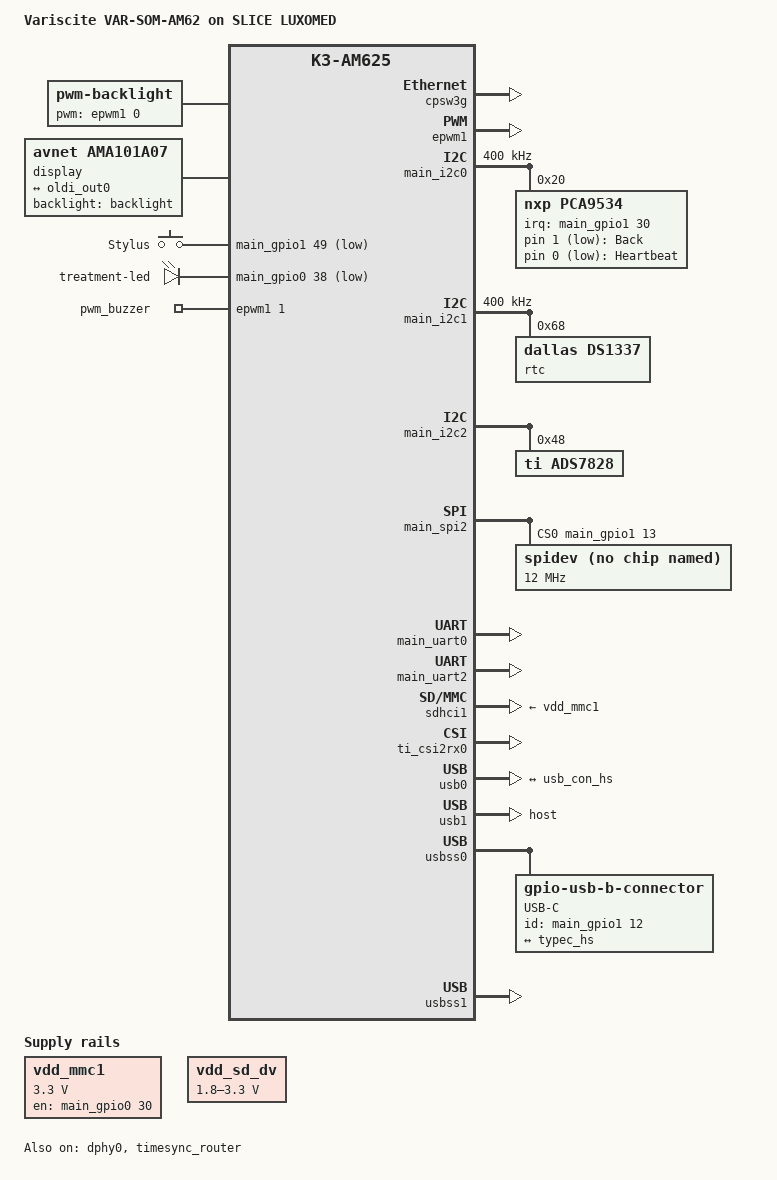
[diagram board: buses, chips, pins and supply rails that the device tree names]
// SPDX-License-Identifier: GPL-2.0
/*
 * VAR-SOM-AM62
 *
 * Copyright (C) 2021-2022 Texas Instruments Incorporated - https://www.ti.com/
 * Copyright (C) 2024 Variscite Ltd. - https://www.variscite.com/
 */

 // FROM SysConig Software use AM62x ALW

/dts-v1/;

#include "k3-am625-var-som.dtsi"

/ {
	model = "Variscite VAR-SOM-AM62 on SLICE LUXOMED";

	aliases {
		ethernet0 = &cpsw_port1;
		ethernet1 = &cpsw_port2;
		mmc0 = &sdhci0;
		mmc1 = &sdhci1;
		mmc2 = &sdhci2;
		serial0 = &main_uart0;
		serial2 = &main_uart2;
		serial5 = &main_uart5;
		serial6 = &main_uart6;
		spi5 = &main_spi2;
		usb0 = &usb0;
		usb1 = &usb1;
	};

	backlight: backlight {
		compatible = "pwm-backlight";
		pinctrl-names = "default";
		pinctrl-0 = <&main_epwm1_pins_default>;
		pwms = <&epwm1 0 1000000 PWM_POLARITY_NORMAL>; //0 channel A
		status = "okay";
		brightness-levels = < 0  1  2  3  4  5  6  7  8  9
				      10 11 12 13 14 15 16 17 18 19
				      20 21 22 23 24 25 26 27 28 29
				      30 31 32 33 34 35 36 37 38 39
				      40 41 42 43 44 45 46 47 48 49
				      50 51 52 53 54 55 56 57 58 59
				      60 61 62 63 64 65 66 67 68 69
				      70 71 72 73 74 75 76 77 78 79
				      80 81 82 83 84 85 86 87 88 89
				      90 91 92 93 94 95 96 97 98 99
				      100>;
		default-brightness-level = <100>;
	};

	chosen {
		stdout-path = "serial0:115200n8";
		bootargs = "console=ttyS0,115200n8 earlycon=ns16550a,mmio32,0x02800000";
	};

	display {
		compatible = "avnet,ama101a07";
		backlight = <&backlight>;
		status = "okay";

		port@0 {
			lcd_in0: endpoint {
				remote-endpoint = <&oldi_out0>;
			};
		};
	};

	// display1 {
	// 	compatible = "avnet,ama101a07";
	// 	status = "okay";
	// 	port@1 {
	// 			lcd_in1: endpoint {
	// 				remote-endpoint = <&oldi_out1>;
	// 		};
	// 	};
	// };

	gpio-keys {
		compatible = "gpio-keys";
		status = "okay";
		back {
			label = "Back";
			linux,code = <96>;//enter
			gpios = <&pca9534 1 GPIO_ACTIVE_LOW>;
			wakeup-source;
			
		};

		stylus {
			label = "Stylus";
			linux,code = <103>;//cursor up
			gpios = <&main_gpio1 49 GPIO_ACTIVE_LOW>;
			wakeup-source;
			debounce-interval = <10>;  // Optional debounce (in ms)
		};
	};

	gpio-leds {
		compatible = "gpio-leds";
		status = "okay";

		heartbeat {
			label = "Heartbeat";
			linux,default-trigger = "heartbeat";
			gpios = <&pca9534 0 GPIO_ACTIVE_LOW>;
		};

		treatment_led {
            label = "treatment-led";                 // Label for the LED
            gpios = <&main_gpio0 38 GPIO_ACTIVE_LOW>;// GPIO0 pin 38 (active low PNP)
            default-state = "off";                   // Initial state
        };
	};

	epwm_buzzer {
		compatible = "pwm-leds";
		pinctrl-names = "default";
		pinctrl-0 = <&buzzer_pwm_c>;

		buzzer {
			label = "pwm_buzzer";
			pwms = <&epwm1 1 1000000 PWM_POLARITY_NORMAL>; //0 channel B
			max-brightness = <255>;   /* Maximum brightness */
			default-brightness = <128>; /* Default brightness */
		};
	};

	vdd_mmc1: regulator-3 {
		compatible = "regulator-fixed";
		regulator-name = "SD_power_en";
		pinctrl-names = "default";
		pinctrl-0 = <&vdd_mmc1_pins_default>;
		regulator-min-microvolt = <3300000>;
		regulator-max-microvolt = <3300000>;
		regulator-boot-on;
		enable-active-high;
		gpio = <&main_gpio0 30 GPIO_ACTIVE_HIGH>;
		status="okay";
	};

	vdd_sd_dv: regulator-4 {
		compatible = "regulator-gpio";
		regulator-name = "SD_voltage_sel";
		pinctrl-names = "default";
		pinctrl-0 = <&vdd_sd_dv_pins_default>;
		regulator-min-microvolt = <1800000>;
		regulator-max-microvolt = <3300000>;
		regulator-boot-on;
		gpios = <&main_gpio0 56 GPIO_ACTIVE_HIGH>;
		states = <1800000 0x0>,
				 <3300000 0x1>;
		status="okay";
	};
};

&cpsw3g {
	status = "okay";
	pinctrl-names = "default";
	pinctrl-0 = <&main_rgmii1_pins_default>;

	cpts@3d000 {
		/* MAP HW3_TS_PUSH to GENF1 */
		ti,pps = <2 1>;
	};
};

&cpsw_port2 {
	status = "disabled";
};

&dphy0 {
	status = "okay";
};

&dss {
	pinctrl-names = "default";
	pinctrl-0 = <&main_oldi0_pins_default>;
};

&dss_ports {
	#address-cells = <1>;
	#size-cells = <0>;

	/* VP1: LVDS Output (OLDI TX 0) */
	port@0 {
		reg = <0>;
		oldi_out0: endpoint {
			remote-endpoint = <&lcd_in0>;
		};
	};

	// /* VP1: LVDS Output (OLDI TX 1) */
    // port@2 {
    //     reg = <2>;
    //     oldi_out1: endpoint {
    //         remote-endpoint = <&lcd_in1>;
    //     };
    // };
};

&epwm1 {
	status = "okay";
	pinctrl-names = "default";
};

&mailbox0_cluster0 {
	mbox_m4_0: mbox-m4-0 {
		ti,mbox-rx = <0 0 0>;
		ti,mbox-tx = <1 0 0>;
	};

	mbox_r5_0: mbox-r5-0 {
		ti,mbox-rx = <2 0 0>;
		ti,mbox-tx = <3 0 0>;
	};
};

&main_i2c0{
	status = "okay";
	pinctrl-names = "default";
	pinctrl-0 = <&main_i2c0_pins_default>;
	clock-frequency = <400000>;

	/* GPIO expander */
	pca9534: gpio@20 {
		compatible = "nxp,pca9534";
		reg = <0x20>;
		gpio-controller;
		pinctrl-names = "default";
		pinctrl-0 = <&pca9534_irq_default>;
		interrupt-parent = <&main_gpio1>;
		interrupts = <30 IRQ_TYPE_EDGE_FALLING>;
		#gpio-cells = <2>;
		wakeup-source;
		status = "okay";
	};
};

&main_i2c1 {
	pinctrl-names = "default";
	pinctrl-0 = <&main_i2c1_pins_default>;
	clock-frequency = <400000>;
	status = "okay";

	/* DS1337 RTC module */
	rtc@68 {
		compatible = "dallas,ds1337";
		reg = <0x68>;
		status = "okay";
	};
};

// I2C#B
&main_i2c2 {
	// ti,ads7828
	ads7828@48 {
		compatible = "ti,ads7828";
		reg = <0x48>;

        ti,ext_vref;      /* Optional: Use external reference if set */
		ti,vref_mv = <2500>;

		status = "okay";
	};
};

&main_pmx0 {
	pinctrl-names = "default";
	pinctrl-0 = <&button_pins_default &treatment_led_pins_default>;

	extcon_pins_default: extcon-pins-default {
		pinctrl-single,pins = <
			AM62X_IOPAD(0x01a8, PIN_INPUT, 7) /* (D20) MCASP0_AFSX.GPIO1_12 */
		>;
	};

	main_epwm1_pins_default: main-epwm1-pins-default {
		pinctrl-single,pins = <
			AM62X_IOPAD(0x019c, PIN_OUTPUT, 6) /* (B18) MCASP0_AXR1.EHRPWM1_A */
		>;
	};

	buzzer_pwm_c: main-epwm1-buzzer_pwm_c-default {
		pinctrl-single,pins = <
			AM62X_IOPAD(0x01a0, PIN_INPUT, 6) /* (D18) MCASP0_AXR0.EHRPWM1_B */
		>;
	};

	main_i2c0_pins_default: main-i2c0-pins-default {
		pinctrl-single,pins = <
			AM62X_IOPAD(0x1e0, PIN_INPUT_PULLUP, 0) /* (B16) I2C0_SCL */
			AM62X_IOPAD(0x1e4, PIN_INPUT_PULLUP, 0) /* (A16) I2C0_SDA */
		>;
	};

	/*Added by ES*/
	button_pins_default: button-default-pins {
		pinctrl-single,pins = <
			AM62X_IOPAD(0x0244, PIN_INPUT, 7) /* (B15) MMC1_SDWP.GPIO1_49 */
		>;
	};
	/*Added by ES*/
	treatment_led_pins_default: treatment_led-default-pins {
		pinctrl-single,pins = <
			AM62X_IOPAD(0x009c, PIN_INPUT, 7) /* (P17) GPMC0_WAIT1.GPIO0_38 */
		>;
	};

	main_i2c1_pins_default: main-i2c1-pins-default {
		pinctrl-single,pins = <
			AM62X_IOPAD(0x1e8, PIN_INPUT_PULLUP, 0) /* (B17) I2C1_SCL */
			AM62X_IOPAD(0x1ec, PIN_INPUT_PULLUP, 0) /* (A17) I2C1_SDA */
		>;
	};

	main_mmc1_pins_default: main-mmc1-pins-default {
		pinctrl-single,pins = <
			AM62X_IOPAD(0x23c, PIN_INPUT, 0) /* (A21) MMC1_CMD */
			AM62X_IOPAD(0x234, PIN_INPUT, 0) /* (B22) MMC1_CLK */
			AM62X_IOPAD(0x230, PIN_INPUT, 0) /* (A22) MMC1_DAT0 */
			AM62X_IOPAD(0x22c, PIN_INPUT, 0) /* (B21) MMC1_DAT1 */
			AM62X_IOPAD(0x228, PIN_INPUT, 0) /* (C21) MMC1_DAT2 */
			AM62X_IOPAD(0x224, PIN_INPUT, 0) /* (D22) MMC1_DAT3 */
			AM62X_IOPAD(0x240, PIN_INPUT, 0) /* (D17) MMC1_SDCD */
		>;
	};

	main_oldi0_pins_default: main-oldi0-pins-default {
		pinctrl-single,pins = <
			AM62X_IOPAD(0x0260, PIN_INPUT, 0) /* (AA5) OLDI0_A0N */
			AM62X_IOPAD(0x025c, PIN_OUTPUT, 0) /* (Y6) OLDI0_A0P */
			AM62X_IOPAD(0x0268, PIN_OUTPUT, 0) /* (AD3) OLDI0_A1N */
			AM62X_IOPAD(0x0264, PIN_OUTPUT, 0) /* (AB4) OLDI0_A1P */
			AM62X_IOPAD(0x0270, PIN_OUTPUT, 0) /* (Y8) OLDI0_A2N */
			AM62X_IOPAD(0x026c, PIN_OUTPUT, 0) /* (AA8) OLDI0_A2P */
			AM62X_IOPAD(0x0278, PIN_OUTPUT, 0) /* (AB6) OLDI0_A3N */
			AM62X_IOPAD(0x0274, PIN_OUTPUT, 0) /* (AA7) OLDI0_A3P */
			AM62X_IOPAD(0x0280, PIN_OUTPUT, 0) /* (AC6) OLDI0_A4N */
			AM62X_IOPAD(0x027c, PIN_OUTPUT, 0) /* (AC5) OLDI0_A4P */
			AM62X_IOPAD(0x0288, PIN_OUTPUT, 0) /* (AE5) OLDI0_A5N */
			AM62X_IOPAD(0x0284, PIN_OUTPUT, 0) /* (AD6) OLDI0_A5P */
			AM62X_IOPAD(0x0290, PIN_OUTPUT, 0) /* (AE6) OLDI0_A6N */
			AM62X_IOPAD(0x028c, PIN_OUTPUT, 0) /* (AD7) OLDI0_A6P */
			AM62X_IOPAD(0x0298, PIN_OUTPUT, 0) /* (AD8) OLDI0_A7N */
			AM62X_IOPAD(0x0294, PIN_OUTPUT, 0) /* (AE7) OLDI0_A7P */
			AM62X_IOPAD(0x02a0, PIN_OUTPUT, 0) /* (AD4) OLDI0_CLK0N */
			AM62X_IOPAD(0x029c, PIN_OUTPUT, 0) /* (AE3) OLDI0_CLK0P */
			AM62X_IOPAD(0x02a8, PIN_OUTPUT, 0) /* (AE4) OLDI0_CLK1N */
			AM62X_IOPAD(0x02a4, PIN_OUTPUT, 0) /* (AD5) OLDI0_CLK1P */
		>;
	};

	main_spi2_pins_default: main_spi2-pins-default {
		pinctrl-single,pins = <
			AM62X_IOPAD(0x01b0, PIN_INPUT, 1) /* (A20) MCASP0_ACLKR.SPI2_CLK */
			AM62X_IOPAD(0x0194, PIN_OUTPUT, 1) /* (B19) MCASP0_AXR3.SPI2_D0 */
			AM62X_IOPAD(0x0198, PIN_INPUT, 1) /* (A19) MCASP0_AXR2.SPI2_D1 */
			AM62X_IOPAD(0x01ac, PIN_OUTPUT, 7) /* (E19) MCASP0_AFSR.GPIO1_13 */
		>;
	};

	main_uart0_pins_default: main-uart0-pins-default {
		pinctrl-single,pins = <
			AM62X_IOPAD(0x1c8, PIN_INPUT, 0) /* (D14) UART0_RXD */
			AM62X_IOPAD(0x1cc, PIN_OUTPUT, 0) /* (E14) UART0_TXD */
		>;
	};

	main_uart2_pins_default: main-uart2-pins-default {
		pinctrl-single,pins = <
			AM62X_IOPAD(0x005c, PIN_INPUT_PULLUP, 2) /* (R24) GPMC0_AD8.UART2_RXD */
			AM62X_IOPAD(0x0060, PIN_OUTPUT, 2) /* (R25) GPMC0_AD9.UART2_TXD */
		>;
	};

	main_usb1_pins_default: main-usb1-pins-default {
		pinctrl-single,pins = <
			AM62X_IOPAD(0x0258, PIN_OUTPUT, 0) /* (F18) USB1_DRVVBUS */
		>;
	};

	pca9534_irq_default: pca9534_irq_default {
		pinctrl-single,pins = <
			AM62X_IOPAD(0x01f0, PIN_INPUT, 7) /* (A18) EXT_REFCLK1.GPIO1_30 */
		>;
	};

	vdd_mmc1_pins_default: vdd-mmc1-pins-default {
		pinctrl-single,pins = <
			AM62X_IOPAD(0x0078, PIN_OUTPUT, 7) /* (U24) GPMC0_AD15.GPIO0_30 */
		>;
	};

	vdd_sd_dv_pins_default: vdd-sd-dv-pins-default {
		pinctrl-single,pins = <
			AM62X_IOPAD(0x00e4, PIN_OUTPUT, 7) /* (AA23) VOUT0_DATA11.GPIO0_56 */
		>;
	};
};

&main_spi2 {
	status = "okay";
	pinctrl-names = "default";
	pinctrl-0 = <&main_spi2_pins_default>;
	ti,pindir-d0-out-d1-in = <1>;
	cs-gpios = <&main_gpio1 13 GPIO_ACTIVE_HIGH>;

	spidev@0 {
		compatible = "var,spidev";
		reg = <0>;
		spi-max-frequency = <12000000>;
		status = "okay";
	};
};

&main_uart0 {
	status = "okay";
	pinctrl-names = "default";
	pinctrl-0 = <&main_uart0_pins_default>;
};

&main_uart1 {
	/* Main UART1 is used by TIFS firmware */
	status = "reserved";
};

&main_uart2 {
	pinctrl-names = "default";
	pinctrl-0 = <&main_uart2_pins_default>;
	status = "okay";
};

&main_uart6 {
	status = "disabled";
};

&mcu_gpio0 {
	status = "reserved";
};

&mcu_gpio_intr {
	status = "reserved";
};

&mcu_m4fss {
	mboxes = <&mailbox0_cluster0 &mbox_m4_0>;
	memory-region = <&mcu_m4fss_dma_memory_region>,
			<&mcu_m4fss_memory_region>;
};

&mcu_rti0 {
	/* MCU RTI0 is used by M4F firmware */
	status = "reserved";
};

&{/reserved-memory} {
	framebuffer: framebuffer@ff700000 {
		reg = <0x00 0xff700000 0x00 0x008ca000>;
		no-map;
	};
};

&sdhci1 {
	/* SD Card */
	vmmc-supply = <&vdd_mmc1>;
	vqmmc-supply = <&vdd_sd_dv>;
	pinctrl-names = "default";
	pinctrl-0 = <&main_mmc1_pins_default>;
	disable-wp;
	status="okay";
};

&ti_csi2rx0 {
	status = "okay";
};

#define K3_TS_OFFSET(pa, val)	(0x4+(pa)*4) (0x10000 | val)

&timesync_router {
	status = "okay";
	pinctrl-names = "default";
	pinctrl-0 = <&cpsw_cpts>;

	/* Use Time Sync Router to map GENF1 input to HW3_TS_PUSH output */
	cpsw_cpts: cpsw-cpts {
		pinctrl-single,pins = <
			/* pps [cpsw cpts genf1] in17 -> out12 [cpsw cpts hw3_push] */
			K3_TS_OFFSET(12, 17)
			>;
	};
};

&usb0 {
	#address-cells = <1>;
	#size-cells = <0>;
	usb-role-switch;
	status="okay";

	port@0 {
		reg = <0>;

		typec_hs: endpoint {
			remote-endpoint = <&usb_con_hs>;
		};
	};
};

&usb1 {
	dr_mode = "host";
	pinctrl-names = "default";
	pinctrl-0 = <&main_usb1_pins_default>;
	status="okay";
};

&usbss0 {
	status = "okay";

	connector {
		compatible = "gpio-usb-b-connector","usb-c-connector";
		pinctrl-names = "default";
		pinctrl-0 = <&extcon_pins_default>;
		label = "USB-C";
		id-gpios = <&main_gpio1 12 GPIO_ACTIVE_HIGH>;
		status = "okay";

		ports {
			#address-cells = <1>;
			#size-cells = <0>;

			port@0 {
				reg = <0>;

				usb_con_hs: endpoint {
					remote-endpoint = <&typec_hs>;
				};
			};
		};
	};
};

&usbss1 {
	status = "okay";
};

&wkup_r5fss0_core0 {
	mboxes = <&mailbox0_cluster0 &mbox_r5_0>;
	memory-region = <&wkup_r5fss0_core0_dma_memory_region>,
			<&wkup_r5fss0_core0_memory_region>;
};

&wkup_rtc0 {
	status = "disabled";
};

&wkup_rti0 {
	/* WKUP RTI0 is used by DM firmware */
	status = "reserved";
};

&wkup_uart0 {
	/* WKUP UART0 is used by DM firmware */
	status = "reserved";
};
